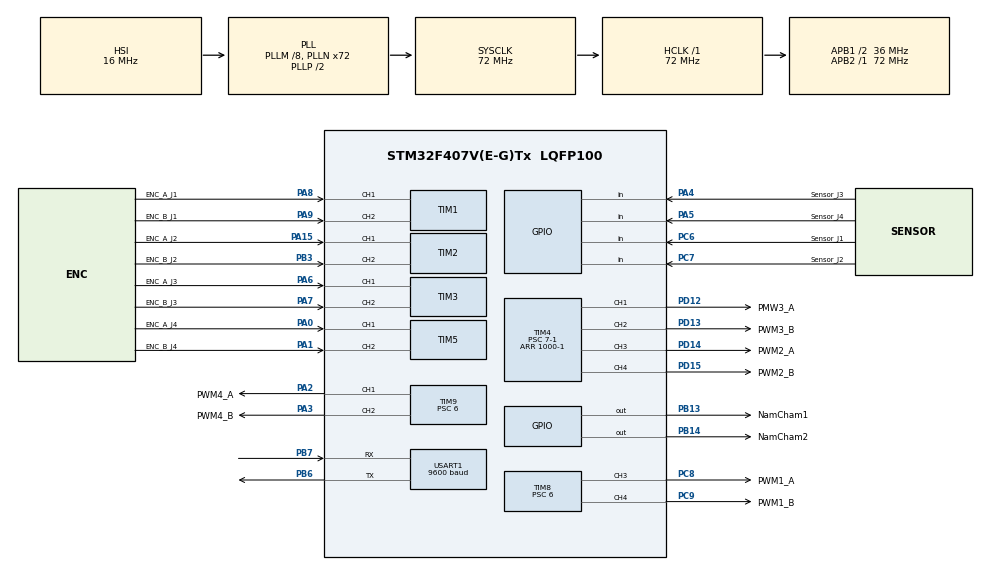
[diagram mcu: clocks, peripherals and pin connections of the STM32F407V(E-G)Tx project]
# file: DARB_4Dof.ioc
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Dma.Request0=USART1_RX
Dma.USART1_RX.0.Direction=DMA_PERIPH_TO_MEMORY
Dma.USART1_RX.0.FIFOMode=DMA_FIFOMODE_DISABLE
Dma.USART1_RX.0.Instance=DMA2_Stream2
Dma.USART1_RX.0.MemDataAlignment=DMA_MDATAALIGN_BYTE
Dma.USART1_RX.0.MemInc=DMA_MINC_ENABLE
Dma.USART1_RX.0.Mode=DMA_NORMAL
Dma.USART1_RX.0.PeriphDataAlignment=DMA_PDATAALIGN_BYTE
Dma.USART1_RX.0.PeriphInc=DMA_PINC_DISABLE
Dma.USART1_RX.0.Priority=DMA_PRIORITY_MEDIUM
FREERTOS.Tasks01=TaskLogic,0,128,StartTaskLogic,Default,NULL,Dynamic,NULL,NULL;TaskSetHome,0,128,StartTaskSetHome,Default,NULL,Dynamic,NULL,NULL;TaskCalPID,0,128,StartTaskPID,Default,NULL,Dynamic,NULL,NULL;TaskTrajectory,-1,128,StartTaskTrajectory,Default,NULL,Dynamic,NULL,NULL
Mcu.Family=STM32F4
Mcu.Name=STM32F407V(E-G)Tx
Mcu.Package=LQFP100
NVIC.DMA2_Stream2_IRQn=true\:5\:0\:false\:false\:true\:true\:false\:true\:true
NVIC.PriorityGroup=NVIC_PRIORITYGROUP_4
NVIC.TIM1_BRK_TIM9_IRQn=true\:5\:0\:false\:false\:true\:true\:true\:true\:true
NVIC.TIM8_BRK_TIM12_IRQn=true\:5\:0\:false\:false\:true\:true\:true\:true\:true
NVIC.TIM8_TRG_COM_TIM14_IRQn=true\:15\:0\:false\:false\:true\:false\:false\:true\:true
NVIC.TimeBase=TIM8_TRG_COM_TIM14_IRQn
NVIC.TimeBaseIP=TIM14
NVIC.USART1_IRQn=true\:5\:0\:false\:false\:true\:true\:true\:true\:true
PA0-WKUP.GPIO_Label=ENC_A_J4
PA0-WKUP.Signal=S_TIM5_CH1
PA1.GPIO_Label=ENC_B_J4
PA1.Signal=S_TIM5_CH2
PA13.Mode=Serial_Wire
PA13.Signal=SYS_JTMS-SWDIO
PA14.Mode=Serial_Wire
PA14.Signal=SYS_JTCK-SWCLK
PA15.GPIO_Label=ENC_A_J2
PA15.Signal=S_TIM2_CH1_ETR
PA2.GPIO_Label=PWM4_A
PA2.Signal=S_TIM9_CH1
PA3.GPIO_Label=PWM4_B
PA3.Signal=S_TIM9_CH2
PA4.GPIO_Label=Sensor_J3
PA4.GPIO_PuPd=GPIO_PULLUP
PA4.Signal=GPIO_Input
PA5.GPIO_Label=Sensor_J4
PA5.GPIO_PuPd=GPIO_PULLUP
PA5.Signal=GPIO_Input
PA6.GPIO_Label=ENC_A_J3
PA6.Signal=S_TIM3_CH1
PA7.GPIO_Label=ENC_B_J3
PA7.Signal=S_TIM3_CH2
PA8.GPIO_Label=ENC_A_J1
PA8.Signal=S_TIM1_CH1
PA9.GPIO_Label=ENC_B_J1
PA9.Signal=S_TIM1_CH2
PB13.GPIO_Label=NamCham1
PB13.Signal=GPIO_Output
PB14.GPIO_Label=NamCham2
PB14.Signal=GPIO_Output
PB3.GPIO_Label=ENC_B_J2
PB3.Signal=S_TIM2_CH2
PB6.Mode=Asynchronous
PB6.Signal=USART1_TX
PB7.Mode=Asynchronous
PB7.Signal=USART1_RX
PC6.GPIO_Label=Sensor_J1
PC6.GPIO_PuPd=GPIO_PULLUP
PC6.Signal=GPIO_Input
PC7.GPIO_Label=Sensor_J2
PC7.GPIO_PuPd=GPIO_PULLUP
PC7.Signal=GPIO_Input
PC8.GPIO_Label=PWM1_A
PC8.Signal=S_TIM8_CH3
PC9.GPIO_Label=PWM1_B
PC9.Signal=S_TIM8_CH4
PD12.GPIO_Label=PMW3_A
PD12.Signal=S_TIM4_CH1
PD13.GPIO_Label=PWM3_B
PD13.Signal=S_TIM4_CH2
PD14.GPIO_Label=PWM2_A
PD14.Signal=S_TIM4_CH3
PD15.GPIO_Label=PWM2_B
PD15.Signal=S_TIM4_CH4
PH0-OSC_IN.Mode=HSE-External-Oscillator
PH0-OSC_IN.Signal=RCC_OSC_IN
PH1-OSC_OUT.Mode=HSE-External-Oscillator
PH1-OSC_OUT.Signal=RCC_OSC_OUT
ProjectManager.HeapSize=0x200
ProjectManager.StackSize=0x400
ProjectManager.TargetToolchain=STM32CubeIDE
RCC.48MHZClocksFreq_Value=36000000
RCC.AHBFreq_Value=72000000
RCC.APB1CLKDivider=RCC_HCLK_DIV2
RCC.APB1Freq_Value=36000000
RCC.APB1TimFreq_Value=72000000
RCC.APB2Freq_Value=72000000
RCC.APB2TimFreq_Value=72000000
RCC.CortexFreq_Value=72000000
RCC.HCLKFreq_Value=72000000
RCC.HSE_VALUE=8000000
RCC.HSI_VALUE=16000000
RCC.LSE_VALUE=32768
RCC.PLLM=8
RCC.PLLN=72
RCC.SYSCLKFreq_VALUE=72000000
RCC.SYSCLKSource=RCC_SYSCLKSOURCE_PLLCLK
RCC.VCOOutputFreq_Value=144000000
SH.S_TIM1_CH1.0=TIM1_CH1,Encoder_Interface
SH.S_TIM1_CH2.0=TIM1_CH2,Encoder_Interface
SH.S_TIM2_CH1_ETR.0=TIM2_CH1,Encoder_Interface
SH.S_TIM2_CH2.0=TIM2_CH2,Encoder_Interface
SH.S_TIM3_CH1.0=TIM3_CH1,Encoder_Interface
SH.S_TIM3_CH2.0=TIM3_CH2,Encoder_Interface
SH.S_TIM4_CH1.0=TIM4_CH1,PWM Generation1 CH1
SH.S_TIM4_CH2.0=TIM4_CH2,PWM Generation2 CH2
SH.S_TIM4_CH3.0=TIM4_CH3,PWM Generation3 CH3
SH.S_TIM4_CH4.0=TIM4_CH4,PWM Generation4 CH4
SH.S_TIM5_CH1.0=TIM5_CH1,Encoder_Interface
SH.S_TIM5_CH2.0=TIM5_CH2,Encoder_Interface
SH.S_TIM8_CH3.0=TIM8_CH3,PWM Generation3 CH3
SH.S_TIM8_CH4.0=TIM8_CH4,PWM Generation4 CH4
SH.S_TIM9_CH1.0=TIM9_CH1,PWM Generation1 CH1
SH.S_TIM9_CH2.0=TIM9_CH2,PWM Generation2 CH2
TIM1.EncoderMode=TIM_ENCODERMODE_TI12
TIM12.Period=1000-1
TIM12.Prescaler=72-1
TIM3.EncoderMode=TIM_ENCODERMODE_TI12
TIM4.Channel-PWM\ Generation1\ CH1=TIM_CHANNEL_1
TIM4.Channel-PWM\ Generation2\ CH2=TIM_CHANNEL_2
TIM4.Channel-PWM\ Generation3\ CH3=TIM_CHANNEL_3
TIM4.Channel-PWM\ Generation4\ CH4=TIM_CHANNEL_4
TIM4.Period=1000-1
TIM4.Prescaler=7-1
TIM5.EncoderMode=TIM_ENCODERMODE_TI12
TIM8.Channel-PWM\ Generation3\ CH3=TIM_CHANNEL_3
TIM8.Channel-PWM\ Generation4\ CH4=TIM_CHANNEL_4
TIM8.Period=999
TIM8.Prescaler=6
TIM9.Channel-PWM\ Generation1\ CH1=TIM_CHANNEL_1
TIM9.Channel-PWM\ Generation2\ CH2=TIM_CHANNEL_2
TIM9.Period=999
TIM9.Prescaler=6
USART1.BaudRate=9600
USART1.VirtualMode=VM_ASYNC
VP_FREERTOS_VS_CMSIS_V1.Mode=CMSIS_V1
VP_SYS_VS_tim14.Mode=TIM14
VP_TIM12_VS_ClockSourceINT.Mode=Internal
board=custom

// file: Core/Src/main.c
/* USER CODE BEGIN Header */
/**
  ******************************************************************************
  * @file           : main.c
  * @brief          : Main program body
  ******************************************************************************
  * @attention
  *
  * Copyright (c) 2024 STMicroelectronics.
  * All rights reserved.
  *
  * This software is licensed under terms that can be found in the LICENSE file
  * in the root directory of this software component.
  * If no LICENSE file comes with this software, it is provided AS-IS.
  *
  ******************************************************************************
  */
/* USER CODE END Header */
#include "main.h"
#include "cmsis_os.h"

/* USER CODE BEGIN Includes */
#include"math.h"
#include"Encoder.h"
#include"MotorDrive.h"
#include"stdlib.h"
#include "PID.h"
#include "stdio.h"
#include <stdbool.h>
#include "cJSON.h"
#include "string.h"
/* USER CODE END Includes */

TIM_HandleTypeDef htim1;
TIM_HandleTypeDef htim2;
TIM_HandleTypeDef htim3;
TIM_HandleTypeDef htim4;
TIM_HandleTypeDef htim5;
TIM_HandleTypeDef htim8;
TIM_HandleTypeDef htim9;
TIM_HandleTypeDef htim12;

UART_HandleTypeDef huart1;
DMA_HandleTypeDef hdma_usart1_rx;

osThreadId TaskLogicHandle;
osThreadId TaskSetHomeHandle;
osThreadId TaskCalPIDHandle;
osThreadId TaskTrajectoryHandle;

void SystemClock_Config(void);
static void MX_GPIO_Init(void);
static void MX_DMA_Init(void);
static void MX_TIM1_Init(void);
static void MX_TIM4_Init(void);
static void MX_TIM2_Init(void);
static void MX_TIM3_Init(void);
static void MX_TIM5_Init(void);
static void MX_TIM8_Init(void);
static void MX_TIM9_Init(void);
static void MX_USART1_UART_Init(void);
static void MX_TIM12_Init(void);
void StartTaskLogic(void const * argument);
void StartTaskSetHome(void const * argument);
void StartTaskPID(void const * argument);
void StartTaskTrajectory(void const * argument);

/* USER CODE BEGIN 0 */

//----------------GLOBAL VARIABLE------------------//
typedef struct{
	uint8_t startSetHome;
	uint8_t startProgram;
	uint8_t starKinematics;
	uint8_t SetPoint_Nha;
	uint8_t SetPoint_Hut;
	uint8_t startQD;
	uint8_t startHut;
	uint8_t startNha;
}FlagStart_;
FlagStart_ FlagStart;

typedef struct{
	int16_t SpeedSetHomeJ1;
	int16_t SpeedSetHomeJ2;
	int16_t SpeedSetHomeJ3;
	int16_t SpeedSetHomeJ4;
}SpeedSetHomeJ_;
SpeedSetHomeJ_ SpeedSetHomeJ;

typedef struct{
	uint8_t sethomeJ1;
	uint8_t sethomeJ2;
	uint8_t sethomeJ3;
	uint8_t sethomeJ4;
}sethomeJ_;
sethomeJ_ sethomeJ;

typedef struct{
	int8_t sensor1;
	int8_t sensor2;
	int8_t sensor3;
	int8_t sensor4;
}sensor_;
sensor_ sensor;

typedef struct{
	float AngleLink1;
	float AngleLink2;
	float AngleLink3;
	float AngleLink4;
}Angle_;
Angle_ Angle;
//----------------GLOBAL VARIABLE------------------//

//--------------TRAJECTORY PLANNING----------------//
#define MAX_POINTS 50
typedef struct {
    float theta1;
    float theta2;
    float theta3;
    float theta4;
} Point;

typedef struct{
	float setpoint1;
	float setpoint2;
	float setpoint3;
	float setpoint4;

	float preSetpoint1;
	float preSetpoint2;
	float preSetpoint3;
	float preSetpoint4;

	float p0_1;
	float p0_2;
	float p0_3;
	float p0_4;

	float theta1_Nha;
	float theta2_Nha;
	float theta3_Nha;
	float theta4_Nha;

	int countPoint;
	Point points[MAX_POINTS];
}Setpoint_;
Setpoint_ Setpoint;

float T1, T2, T3, T4;
float Tf=1000;

float p(float p0, float pf, float tf, float v0, float vf, float T)
{
    return p0+v0*T+(3*(pf-p0)/(tf*tf)-2*v0/tf-vf/tf)*(T*T)+(-2*(pf-p0)/(tf*tf*tf)+(vf+v0)/(tf*tf))*(T*T*T);
}
//--------------TRAJECTORY PLANNING----------------//

#define MAX_MESG 2048
char uartLogBuffer[MAX_MESG];
uint8_t flag_uart_rx = 0;
uint16_t uartLogRxSize;
char dataAngle[128];
uint16_t count_timer = 0;
uint8_t count = 0;
void UartIdle_Init()
{
  HAL_UARTEx_ReceiveToIdle_DMA(&huart1, (uint8_t*)uartLogBuffer, MAX_MESG);
  __HAL_DMA_DISABLE_IT(&hdma_usart1_rx, DMA_IT_HT);
}

void UART_Handle(char* data, Setpoint_* Setpoint)
{
    static char uartDataBuffer[1024] = "";
    static size_t dataBufferIndex = 0;

    if (flag_uart_rx == 1 && strstr(data, "\n"))
    {
        if (strstr(data, "theta1"))
        {
            if (sscanf(data, "theta1:%f,theta2:%f,theta3:%f,theta4:%f\n",
                       &Setpoint->setpoint1, &Setpoint->setpoint2,
                       &Setpoint->setpoint3, &Setpoint->setpoint4) == 4)
            {
                FlagStart.starKinematics = 1;
            }
        }
        else if (strstr(data, "NhaT1"))
        {
            if (sscanf(data, "NhaT1:%f,NhaT2:%f,NhaT3:%f,NhaT4:%f\n",
                       &Setpoint->theta1_Nha, &Setpoint->theta2_Nha,
                       &Setpoint->theta3_Nha, &Setpoint->theta4_Nha) == 4)
            {
                FlagStart.SetPoint_Nha = 1;
            }
        }
        else if (strstr(data, "Point"))
        {
        	Setpoint->countPoint = 0;
        	if (dataBufferIndex + strlen(data) < sizeof(uartDataBuffer) - 1) {
				strncat(uartDataBuffer, data, sizeof(uartDataBuffer) - dataBufferIndex - 1);
				dataBufferIndex += strlen(data);

				if (strchr(uartDataBuffer, '\n') != NULL) {
					char* savePtr;
					char* token = strtok_r(uartDataBuffer, ";", &savePtr);

					while (token != NULL) {
						int pointId;
						float theta1, theta2, theta3, theta4;

						if (sscanf(token, "Point:%d, HutT1:%f, HutT2:%f, HutT3:%f, HutT4:%f", &pointId, &theta1, &theta2, &theta3, &theta4) == 5) {
							Setpoint->points[pointId].theta1 = theta1;
							Setpoint->points[pointId].theta2 = theta2;
							Setpoint->points[pointId].theta3 = theta3;
							Setpoint->points[pointId].theta4 = theta4;
							FlagStart.SetPoint_Hut = 1;
							Setpoint->countPoint++;
						}
						else{
							FlagStart.startQD = 1;
							count = 0;
						}
						token = strtok_r(NULL, ";", &savePtr);
					}

					memset(uartDataBuffer, 0, sizeof(uartDataBuffer));
					dataBufferIndex = 0;
				}
			}
        }
        else if (strstr(data, "home"))
        {
            FlagStart.startSetHome = 0;
        }
        else if (strstr(data, "Reset"))
        {
            HAL_NVIC_SystemReset();
        }
        else if (strstr(data, "GAP"))
        {
			HAL_GPIO_WritePin(NamCham1_GPIO_Port, NamCham1_Pin, 1);
			HAL_GPIO_WritePin(NamCham2_GPIO_Port, NamCham2_Pin, 0);
        }
        else if (strstr(data, "VUT"))
        {
			HAL_GPIO_WritePin(NamCham1_GPIO_Port, NamCham1_Pin, 0);
			HAL_GPIO_WritePin(NamCham2_GPIO_Port, NamCham2_Pin, 0);
        }
        else if (strstr(data, "start"))
        {
            FlagStart.startProgram = 1;
            Angle.AngleLink1 = 0;
            Angle.AngleLink2 = 0;
            Angle.AngleLink3 = 0;
            Angle.AngleLink4 = 0;

        }
        else if (strstr(data, "disconnected"))
        {
            FlagStart.startProgram = 0;
            FlagStart.SetPoint_Hut = 0;
            FlagStart.SetPoint_Nha = 0;
            FlagStart.starKinematics = 0;
        }
        flag_uart_rx = 0;
        memset(data, 0, uartLogRxSize);
    }
}

void HAL_UARTEx_RxEventCallback(UART_HandleTypeDef* huart, uint16_t Size)
{
  if (huart->Instance == USART1)
  {
    uartLogRxSize = Size;
    flag_uart_rx = 1;
	UART_Handle(uartLogBuffer, &Setpoint);

    HAL_UARTEx_ReceiveToIdle_DMA(huart, (uint8_t*)uartLogBuffer, MAX_MESG);
  }
}
//----------------LINK1------------------//
EncoderRead ENC_LINK1;
MotorDrive 	Motor_LINK1;
PID_Param	PID_DC_SPEED_LINK1;
PID_Param	PID_DC_POS_LINK1;
void PID_LINK1_Init()
{
	PID_DC_SPEED_LINK1.kP = 50;
	PID_DC_SPEED_LINK1.kI = 300;
	PID_DC_SPEED_LINK1.kD = 0;
	PID_DC_SPEED_LINK1.alpha = 0;
	PID_DC_SPEED_LINK1.deltaT = 0.01;
	PID_DC_SPEED_LINK1.uI_AboveLimit = 1000;
	PID_DC_SPEED_LINK1.uI_BelowLimit = -1000;
	PID_DC_SPEED_LINK1.u_AboveLimit  = 1000;
	PID_DC_SPEED_LINK1.u_BelowLimit  = -1000;

	PID_DC_POS_LINK1.kP = 10;
	PID_DC_POS_LINK1.kI = 0;
	PID_DC_POS_LINK1.kD = 0;
	PID_DC_POS_LINK1.alpha = 0;
	PID_DC_POS_LINK1.deltaT = 0.01;
	PID_DC_POS_LINK1.uI_AboveLimit = 1000;
	PID_DC_POS_LINK1.uI_BelowLimit = -1000;
	PID_DC_POS_LINK1.u_AboveLimit  = 1000;
	PID_DC_POS_LINK1.u_BelowLimit  = -1000;
}
void PID_LINK1_Speed(){
	SpeedReadNonReset(&ENC_LINK1);
	Pid_Cal(&PID_DC_SPEED_LINK1, PID_DC_POS_LINK1.u, ENC_LINK1.vel_Real);
	Drive(&Motor_LINK1, &htim8, PID_DC_SPEED_LINK1.u, TIM_CHANNEL_3, TIM_CHANNEL_4);
}
void PID_LINK1_Pos(){
	Pid_Cal(&PID_DC_POS_LINK1, Angle.AngleLink1, CountRead(&ENC_LINK1, count_ModeDegree));
	PID_LINK1_Speed();
}
//----------------LINK1------------------//

//----------------LINK 2------------------//
EncoderRead ENC_LINK2;
MotorDrive 	Motor_LINK2;
PID_Param	PID_DC_SPEED_LINK2;
PID_Param	PID_DC_POS_LINK2;
void PID_LINK2_Init()
{
	PID_DC_SPEED_LINK2.kP = 50;
	PID_DC_SPEED_LINK2.kI = 300;
	PID_DC_SPEED_LINK2.kD = 0;
	PID_DC_SPEED_LINK2.alpha = 0;
	PID_DC_SPEED_LINK2.deltaT = 0.01;
	PID_DC_SPEED_LINK2.uI_AboveLimit = 1000;
	PID_DC_SPEED_LINK2.uI_BelowLimit = -1000;
	PID_DC_SPEED_LINK2.u_AboveLimit  = 1000;
	PID_DC_SPEED_LINK2.u_BelowLimit  = -1000;

	PID_DC_POS_LINK2.kP = 10;
	PID_DC_POS_LINK2.kI = 0;
	PID_DC_POS_LINK2.kD = 0;
	PID_DC_POS_LINK2.alpha = 0;
	PID_DC_POS_LINK2.deltaT = 0.01;
	PID_DC_POS_LINK2.uI_AboveLimit = 1000;
	PID_DC_POS_LINK2.uI_BelowLimit = -1000;
	PID_DC_POS_LINK2.u_AboveLimit  = 1000;
	PID_DC_POS_LINK2.u_BelowLimit  = -1000;
}
void PID_LINK2_Speed(){
	SpeedReadNonReset(&ENC_LINK2);
	Pid_Cal(&PID_DC_SPEED_LINK2, PID_DC_POS_LINK2.u, ENC_LINK2.vel_Real);
	Drive(&Motor_LINK2, &htim4, PID_DC_SPEED_LINK2.u, TIM_CHANNEL_3, TIM_CHANNEL_4);
}
void PID_LINK2_Pos(){
	Pid_Cal(&PID_DC_POS_LINK2, Angle.AngleLink2 - 187, CountRead(&ENC_LINK2, count_ModeDegree));
	PID_LINK2_Speed();
}
//----------------LINK 2------------------//

//----------------LINK 3------------------//
EncoderRead ENC_LINK3;
MotorDrive 	Motor_LINK3;
PID_Param	PID_DC_SPEED_LINK3;
PID_Param	PID_DC_POS_LINK3;
void PID_LINK3_Init()
{
	PID_DC_SPEED_LINK3.kP = 50;
	PID_DC_SPEED_LINK3.kI = 300;
	PID_DC_SPEED_LINK3.kD = 0;
	PID_DC_SPEED_LINK3.alpha = 0;
	PID_DC_SPEED_LINK3.deltaT = 0.01;
	PID_DC_SPEED_LINK3.uI_AboveLimit = 1000;
	PID_DC_SPEED_LINK3.uI_BelowLimit = -1000;
	PID_DC_SPEED_LINK3.u_AboveLimit  = 1000;
	PID_DC_SPEED_LINK3.u_BelowLimit  = -1000;

	PID_DC_POS_LINK3.kP = 10;
	PID_DC_POS_LINK3.kI = 0;
	PID_DC_POS_LINK3.kD = 0;
	PID_DC_POS_LINK3.alpha = 0;
	PID_DC_POS_LINK3.deltaT = 0.01;
	PID_DC_POS_LINK3.uI_AboveLimit = 1000;
	PID_DC_POS_LINK3.uI_BelowLimit = -1000;
	PID_DC_POS_LINK3.u_AboveLimit  = 1000;
	PID_DC_POS_LINK3.u_BelowLimit  = -1000;
}
void PID_LINK3_Speed(){
	SpeedReadNonReset(&ENC_LINK3);
	Pid_Cal(&PID_DC_SPEED_LINK3, PID_DC_POS_LINK3.u, ENC_LINK3.vel_Real);
	Drive(&Motor_LINK3, &htim4, PID_DC_SPEED_LINK3.u, TIM_CHANNEL_1, TIM_CHANNEL_2);
}
void PID_LINK3_Pos(){
	Pid_Cal(&PID_DC_POS_LINK3, Angle.AngleLink3 + 135, CountRead(&ENC_LINK3, count_ModeDegree));
	PID_LINK3_Speed();
}
//----------------LINK 3------------------//

//----------------LINK 4------------------//
EncoderRead ENC_LINK4;
MotorDrive 	Motor_LINK4;
PID_Param	PID_DC_SPEED_LINK4;
PID_Param	PID_DC_POS_LINK4;
void PID_LINK4_Init()
{
	PID_DC_SPEED_LINK4.kP = 50;
	PID_DC_SPEED_LINK4.kI = 300;
	PID_DC_SPEED_LINK4.kD = 0;
	PID_DC_SPEED_LINK4.alpha = 0;
	PID_DC_SPEED_LINK4.deltaT = 0.01;
	PID_DC_SPEED_LINK4.uI_AboveLimit = 1000;
	PID_DC_SPEED_LINK4.uI_BelowLimit = -1000;
	PID_DC_SPEED_LINK4.u_AboveLimit  = 1000;
	PID_DC_SPEED_LINK4.u_BelowLimit  = -1000;

	PID_DC_POS_LINK4.kP = 10;
	PID_DC_POS_LINK4.kI = 0;
	PID_DC_POS_LINK4.kD = 0;
	PID_DC_POS_LINK4.alpha = 0;
	PID_DC_POS_LINK4.deltaT = 0.01;
	PID_DC_POS_LINK4.uI_AboveLimit = 1000;
	PID_DC_POS_LINK4.uI_BelowLimit = -1000;
	PID_DC_POS_LINK4.u_AboveLimit  = 1000;
	PID_DC_POS_LINK4.u_BelowLimit  = -1000;
}
void PID_LINK4_Speed(){
	SpeedReadNonReset(&ENC_LINK4);
	Pid_Cal(&PID_DC_SPEED_LINK4, PID_DC_POS_LINK4.u, ENC_LINK4.vel_Real);
	Drive(&Motor_LINK4, &htim9, PID_DC_SPEED_LINK4.u, TIM_CHANNEL_1, TIM_CHANNEL_2);
}
void PID_LINK4_Pos(){
	Pid_Cal(&PID_DC_POS_LINK4, Angle.AngleLink4 - 90, CountRead(&ENC_LINK4, count_ModeDegree));
	PID_LINK4_Speed();
}
//----------------LINK 4------------------//

/* USER CODE END 0 */

int main(void)
{

  /* MCU Configuration--------------------------------------------------------*/

  /* Reset of all peripherals, Initializes the Flash interface and the Systick. */
  HAL_Init();

  /* Configure the system clock */
  SystemClock_Config();

  /* Initialize all configured peripherals */
  MX_GPIO_Init();
  MX_DMA_Init();
  MX_TIM1_Init();
  MX_TIM4_Init();
  MX_TIM2_Init();
  MX_TIM3_Init();
  MX_TIM5_Init();
  MX_TIM8_Init();
  MX_TIM9_Init();
  MX_USART1_UART_Init();
  MX_TIM12_Init();
  /* USER CODE BEGIN 2 */
  HAL_TIM_PWM_Start(&htim4, TIM_CHANNEL_1);
  HAL_TIM_PWM_Start(&htim4, TIM_CHANNEL_2);
  HAL_TIM_PWM_Start(&htim4, TIM_CHANNEL_3);
  HAL_TIM_PWM_Start(&htim4, TIM_CHANNEL_4);
  HAL_TIM_PWM_Start(&htim9, TIM_CHANNEL_1);
  HAL_TIM_PWM_Start(&htim9, TIM_CHANNEL_2);
  HAL_TIM_PWM_Start(&htim8, TIM_CHANNEL_3);
  HAL_TIM_PWM_Start(&htim8, TIM_CHANNEL_4);

  HAL_TIM_Base_Start_IT(&htim12);

  HAL_TIM_Encoder_Start(&htim1, TIM_CHANNEL_ALL);
  HAL_TIM_Encoder_Start(&htim2, TIM_CHANNEL_ALL);
  HAL_TIM_Encoder_Start(&htim3, TIM_CHANNEL_ALL);
  HAL_TIM_Encoder_Start(&htim5, TIM_CHANNEL_ALL);

  EncoderSetting(&ENC_LINK1, &htim1, 6950, 0.01);
  EncoderSetting(&ENC_LINK2, &htim2, 3440, 0.01);
  EncoderSetting(&ENC_LINK3, &htim3, 7200, 0.01);
  EncoderSetting(&ENC_LINK4, &htim5, 3220, 0.01);

  PID_LINK1_Init();
  PID_LINK2_Init();
  PID_LINK3_Init();
  PID_LINK4_Init();

  UartIdle_Init();

  /* USER CODE END 2 */

  /* Create the thread(s) */
  /* definition and creation of TaskLogic */
  osThreadDef(TaskLogic, StartTaskLogic, osPriorityNormal, 0, 128);
  TaskLogicHandle = osThreadCreate(osThread(TaskLogic), NULL);

  /* definition and creation of TaskSetHome */
  osThreadDef(TaskSetHome, StartTaskSetHome, osPriorityNormal, 0, 128);
  TaskSetHomeHandle = osThreadCreate(osThread(TaskSetHome), NULL);

  /* definition and creation of TaskCalPID */
  osThreadDef(TaskCalPID, StartTaskPID, osPriorityNormal, 0, 128);
  TaskCalPIDHandle = osThreadCreate(osThread(TaskCalPID), NULL);

  /* definition and creation of TaskTrajectory */
  osThreadDef(TaskTrajectory, StartTaskTrajectory, osPriorityBelowNormal, 0, 128);
  TaskTrajectoryHandle = osThreadCreate(osThread(TaskTrajectory), NULL);

  /* Start scheduler */
  osKernelStart();

  /* We should never get here as control is now taken by the scheduler */
  /* Infinite loop */
  while (1)
  {

  }
}

void SystemClock_Config(void)
{
  RCC_OscInitTypeDef RCC_OscInitStruct = {0};
  RCC_ClkInitTypeDef RCC_ClkInitStruct = {0};

  /** Configure the main internal regulator output voltage
  */
  __HAL_RCC_PWR_CLK_ENABLE();
  __HAL_PWR_VOLTAGESCALING_CONFIG(PWR_REGULATOR_VOLTAGE_SCALE1);

  /** Initializes the RCC Oscillators according to the specified parameters
  * in the RCC_OscInitTypeDef structure.
  */
  RCC_OscInitStruct.OscillatorType = RCC_OSCILLATORTYPE_HSI;
  RCC_OscInitStruct.HSIState = RCC_HSI_ON;
  RCC_OscInitStruct.HSICalibrationValue = RCC_HSICALIBRATION_DEFAULT;
  RCC_OscInitStruct.PLL.PLLState = RCC_PLL_ON;
  RCC_OscInitStruct.PLL.PLLSource = RCC_PLLSOURCE_HSI;
  RCC_OscInitStruct.PLL.PLLM = 8;
  RCC_OscInitStruct.PLL.PLLN = 72;
  RCC_OscInitStruct.PLL.PLLP = RCC_PLLP_DIV2;
  RCC_OscInitStruct.PLL.PLLQ = 4;
  if (HAL_RCC_OscConfig(&RCC_OscInitStruct) != HAL_OK)
  {
    Error_Handler();
  }

  /** Initializes the CPU, AHB and APB buses clocks
  */
  RCC_ClkInitStruct.ClockType = RCC_CLOCKTYPE_HCLK|RCC_CLOCKTYPE_SYSCLK
                              |RCC_CLOCKTYPE_PCLK1|RCC_CLOCKTYPE_PCLK2;
  RCC_ClkInitStruct.SYSCLKSource = RCC_SYSCLKSOURCE_PLLCLK;
  RCC_ClkInitStruct.AHBCLKDivider = RCC_SYSCLK_DIV1;
  RCC_ClkInitStruct.APB1CLKDivider = RCC_HCLK_DIV2;
  RCC_ClkInitStruct.APB2CLKDivider = RCC_HCLK_DIV1;

  if (HAL_RCC_ClockConfig(&RCC_ClkInitStruct, FLASH_LATENCY_2) != HAL_OK)
  {
    Error_Handler();
  }
}

static void MX_TIM1_Init(void)
{

  TIM_Encoder_InitTypeDef sConfig = {0};
  TIM_MasterConfigTypeDef sMasterConfig = {0};

  htim1.Instance = TIM1;
  htim1.Init.Prescaler = 0;
  htim1.Init.CounterMode = TIM_COUNTERMODE_UP;
  htim1.Init.Period = 65535;
  htim1.Init.ClockDivision = TIM_CLOCKDIVISION_DIV1;
  htim1.Init.RepetitionCounter = 0;
  htim1.Init.AutoReloadPreload = TIM_AUTORELOAD_PRELOAD_DISABLE;
  sConfig.EncoderMode = TIM_ENCODERMODE_TI12;
  sConfig.IC1Polarity = TIM_ICPOLARITY_RISING;
  sConfig.IC1Selection = TIM_ICSELECTION_DIRECTTI;
  sConfig.IC1Prescaler = TIM_ICPSC_DIV1;
  sConfig.IC1Filter = 0;
  sConfig.IC2Polarity = TIM_ICPOLARITY_RISING;
  sConfig.IC2Selection = TIM_ICSELECTION_DIRECTTI;
  sConfig.IC2Prescaler = TIM_ICPSC_DIV1;
  sConfig.IC2Filter = 0;
  if (HAL_TIM_Encoder_Init(&htim1, &sConfig) != HAL_OK)
  {
    Error_Handler();
  }
  sMasterConfig.MasterOutputTrigger = TIM_TRGO_RESET;
  sMasterConfig.MasterSlaveMode = TIM_MASTERSLAVEMODE_DISABLE;
  if (HAL_TIMEx_MasterConfigSynchronization(&htim1, &sMasterConfig) != HAL_OK)
  {
    Error_Handler();
  }

}

static void MX_TIM2_Init(void)
{

  TIM_Encoder_InitTypeDef sConfig = {0};
  TIM_MasterConfigTypeDef sMasterConfig = {0};

  htim2.Instance = TIM2;
  htim2.Init.Prescaler = 0;
  htim2.Init.CounterMode = TIM_COUNTERMODE_UP;
  htim2.Init.Period = 4294967295;
  htim2.Init.ClockDivision = TIM_CLOCKDIVISION_DIV1;
  htim2.Init.AutoReloadPreload = TIM_AUTORELOAD_PRELOAD_DISABLE;
  sConfig.EncoderMode = TIM_ENCODERMODE_TI1;
  sConfig.IC1Polarity = TIM_ICPOLARITY_RISING;
  sConfig.IC1Selection = TIM_ICSELECTION_DIRECTTI;
  sConfig.IC1Prescaler = TIM_ICPSC_DIV1;
  sConfig.IC1Filter = 0;
  sConfig.IC2Polarity = TIM_ICPOLARITY_RISING;
  sConfig.IC2Selection = TIM_ICSELECTION_DIRECTTI;
  sConfig.IC2Prescaler = TIM_ICPSC_DIV1;
  sConfig.IC2Filter = 0;
  if (HAL_TIM_Encoder_Init(&htim2, &sConfig) != HAL_OK)
  {
    Error_Handler();
  }
  sMasterConfig.MasterOutputTrigger = TIM_TRGO_RESET;
  sMasterConfig.MasterSlaveMode = TIM_MASTERSLAVEMODE_DISABLE;
  if (HAL_TIMEx_MasterConfigSynchronization(&htim2, &sMasterConfig) != HAL_OK)
  {
    Error_Handler();
  }

}

static void MX_TIM3_Init(void)
{

  TIM_Encoder_InitTypeDef sConfig = {0};
  TIM_MasterConfigTypeDef sMasterConfig = {0};

  htim3.Instance = TIM3;
  htim3.Init.Prescaler = 0;
  htim3.Init.CounterMode = TIM_COUNTERMODE_UP;
  htim3.Init.Period = 65535;
  htim3.Init.ClockDivision = TIM_CLOCKDIVISION_DIV1;
  htim3.Init.AutoReloadPreload = TIM_AUTORELOAD_PRELOAD_DISABLE;
  sConfig.EncoderMode = TIM_ENCODERMODE_TI12;
  sConfig.IC1Polarity = TIM_ICPOLARITY_RISING;
  sConfig.IC1Selection = TIM_ICSELECTION_DIRECTTI;
  sConfig.IC1Prescaler = TIM_ICPSC_DIV1;
  sConfig.IC1Filter = 0;
  sConfig.IC2Polarity = TIM_ICPOLARITY_RISING;
  sConfig.IC2Selection = TIM_ICSELECTION_DIRECTTI;
  sConfig.IC2Prescaler = TIM_ICPSC_DIV1;
  sConfig.IC2Filter = 0;
  if (HAL_TIM_Encoder_Init(&htim3, &sConfig) != HAL_OK)
  {
    Error_Handler();
  }
  sMasterConfig.MasterOutputTrigger = TIM_TRGO_RESET;
  sMasterConfig.MasterSlaveMode = TIM_MASTERSLAVEMODE_DISABLE;
  if (HAL_TIMEx_MasterConfigSynchronization(&htim3, &sMasterConfig) != HAL_OK)
  {
    Error_Handler();
  }

}

static void MX_TIM4_Init(void)
{

  TIM_MasterConfigTypeDef sMasterConfig = {0};
  TIM_OC_InitTypeDef sConfigOC = {0};

  htim4.Instance = TIM4;
  htim4.Init.Prescaler = 7-1;
  htim4.Init.CounterMode = TIM_COUNTERMODE_UP;
  htim4.Init.Period = 1000-1;
  htim4.Init.ClockDivision = TIM_CLOCKDIVISION_DIV1;
  htim4.Init.AutoReloadPreload = TIM_AUTORELOAD_PRELOAD_DISABLE;
  if (HAL_TIM_PWM_Init(&htim4) != HAL_OK)
  {
    Error_Handler();
  }
  sMasterConfig.MasterOutputTrigger = TIM_TRGO_RESET;
  sMasterConfig.MasterSlaveMode = TIM_MASTERSLAVEMODE_DISABLE;
  if (HAL_TIMEx_MasterConfigSynchronization(&htim4, &sMasterConfig) != HAL_OK)
  {
    Error_Handler();
  }
  sConfigOC.OCMode = TIM_OCMODE_PWM1;
  sConfigOC.Pulse = 0;
  sConfigOC.OCPolarity = TIM_OCPOLARITY_HIGH;
  sConfigOC.OCFastMode = TIM_OCFAST_DISABLE;
  if (HAL_TIM_PWM_ConfigChannel(&htim4, &sConfigOC, TIM_CHANNEL_1) != HAL_OK)
  {
    Error_Handler();
  }
  if (HAL_TIM_PWM_ConfigChannel(&htim4, &sConfigOC, TIM_CHANNEL_2) != HAL_OK)
  {
    Error_Handler();
  }
  if (HAL_TIM_PWM_ConfigChannel(&htim4, &sConfigOC, TIM_CHANNEL_3) != HAL_OK)
  {
    Error_Handler();
  }
  if (HAL_TIM_PWM_ConfigChannel(&htim4, &sConfigOC, TIM_CHANNEL_4) != HAL_OK)
  {
    Error_Handler();
  }
  HAL_TIM_MspPostInit(&htim4);

}

static void MX_TIM5_Init(void)
{

  TIM_Encoder_InitTypeDef sConfig = {0};
  TIM_MasterConfigTypeDef sMasterConfig = {0};

  htim5.Instance = TIM5;
  htim5.Init.Prescaler = 0;
  htim5.Init.CounterMode = TIM_COUNTERMODE_UP;
  htim5.Init.Period = 4294967295;
  htim5.Init.ClockDivision = TIM_CLOCKDIVISION_DIV1;
  htim5.Init.AutoReloadPreload = TIM_AUTORELOAD_PRELOAD_DISABLE;
  sConfig.EncoderMode = TIM_ENCODERMODE_TI12;
  sConfig.IC1Polarity = TIM_ICPOLARITY_RISING;
  sConfig.IC1Selection = TIM_ICSELECTION_DIRECTTI;
  sConfig.IC1Prescaler = TIM_ICPSC_DIV1;
  sConfig.IC1Filter = 0;
  sConfig.IC2Polarity = TIM_ICPOLARITY_RISING;
  sConfig.IC2Selection = TIM_ICSELECTION_DIRECTTI;
  sConfig.IC2Prescaler = TIM_ICPSC_DIV1;
  sConfig.IC2Filter = 0;
  if (HAL_TIM_Encoder_Init(&htim5, &sConfig) != HAL_OK)
  {
    Error_Handler();
  }
  sMasterConfig.MasterOutputTrigger = TIM_TRGO_RESET;
  sMasterConfig.MasterSlaveMode = TIM_MASTERSLAVEMODE_DISABLE;
  if (HAL_TIMEx_MasterConfigSynchronization(&htim5, &sMasterConfig) != HAL_OK)
  {
    Error_Handler();
  }

}

static void MX_TIM8_Init(void)
{

  TIM_MasterConfigTypeDef sMasterConfig = {0};
  TIM_OC_InitTypeDef sConfigOC = {0};
  TIM_BreakDeadTimeConfigTypeDef sBreakDeadTimeConfig = {0};

  htim8.Instance = TIM8;
  htim8.Init.Prescaler = 6;
  htim8.Init.CounterMode = TIM_COUNTERMODE_UP;
  htim8.Init.Period = 999;
  htim8.Init.ClockDivision = TIM_CLOCKDIVISION_DIV1;
  htim8.Init.RepetitionCounter = 0;
  htim8.Init.AutoReloadPreload = TIM_AUTORELOAD_PRELOAD_DISABLE;
  if (HAL_TIM_PWM_Init(&htim8) != HAL_OK)
  {
    Error_Handler();
  }
  sMasterConfig.MasterOutputTrigger = TIM_TRGO_RESET;
  sMasterConfig.MasterSlaveMode = TIM_MASTERSLAVEMODE_DISABLE;
  if (HAL_TIMEx_MasterConfigSynchronization(&htim8, &sMasterConfig) != HAL_OK)
  {
    Error_Handler();
  }
  sConfigOC.OCMode = TIM_OCMODE_PWM1;
  sConfigOC.Pulse = 0;
  sConfigOC.OCPolarity = TIM_OCPOLARITY_HIGH;
  sConfigOC.OCNPolarity = TIM_OCNPOLARITY_HIGH;
  sConfigOC.OCFastMode = TIM_OCFAST_DISABLE;
  sConfigOC.OCIdleState = TIM_OCIDLESTATE_RESET;
  sConfigOC.OCNIdleState = TIM_OCNIDLESTATE_RESET;
  if (HAL_TIM_PWM_ConfigChannel(&htim8, &sConfigOC, TIM_CHANNEL_3) != HAL_OK)
  {
    Error_Handler();
  }
  if (HAL_TIM_PWM_ConfigChannel(&htim8, &sConfigOC, TIM_CHANNEL_4) != HAL_OK)
  {
    Error_Handler();
  }
  sBreakDeadTimeConfig.OffStateRunMode = TIM_OSSR_DISABLE;
  sBreakDeadTimeConfig.OffStateIDLEMode = TIM_OSSI_DISABLE;
  sBreakDeadTimeConfig.LockLevel = TIM_LOCKLEVEL_OFF;
  sBreakDeadTimeConfig.DeadTime = 0;
  sBreakDeadTimeConfig.BreakState = TIM_BREAK_DISABLE;
  sBreakDeadTimeConfig.BreakPolarity = TIM_BREAKPOLARITY_HIGH;
  sBreakDeadTimeConfig.AutomaticOutput = TIM_AUTOMATICOUTPUT_DISABLE;
  if (HAL_TIMEx_ConfigBreakDeadTime(&htim8, &sBreakDeadTimeConfig) != HAL_OK)
  {
    Error_Handler();
  }
  HAL_TIM_MspPostInit(&htim8);

}

static void MX_TIM9_Init(void)
{

  TIM_OC_InitTypeDef sConfigOC = {0};

  htim9.Instance = TIM9;
  htim9.Init.Prescaler = 6;
  htim9.Init.CounterMode = TIM_COUNTERMODE_UP;
  htim9.Init.Period = 999;
  htim9.Init.ClockDivision = TIM_CLOCKDIVISION_DIV1;
  htim9.Init.AutoReloadPreload = TIM_AUTORELOAD_PRELOAD_DISABLE;
  if (HAL_TIM_PWM_Init(&htim9) != HAL_OK)
  {
    Error_Handler();
  }
  sConfigOC.OCMode = TIM_OCMODE_PWM1;
  sConfigOC.Pulse = 0;
  sConfigOC.OCPolarity = TIM_OCPOLARITY_HIGH;
  sConfigOC.OCFastMode = TIM_OCFAST_DISABLE;
  if (HAL_TIM_PWM_ConfigChannel(&htim9, &sConfigOC, TIM_CHANNEL_1) != HAL_OK)
  {
    Error_Handler();
  }
  if (HAL_TIM_PWM_ConfigChannel(&htim9, &sConfigOC, TIM_CHANNEL_2) != HAL_OK)
  {
    Error_Handler();
  }
  HAL_TIM_MspPostInit(&htim9);

}

static void MX_TIM12_Init(void)
{

  TIM_ClockConfigTypeDef sClockSourceConfig = {0};

  htim12.Instance = TIM12;
  htim12.Init.Prescaler = 72-1;
  htim12.Init.CounterMode = TIM_COUNTERMODE_UP;
  htim12.Init.Period = 1000-1;
  htim12.Init.ClockDivision = TIM_CLOCKDIVISION_DIV1;
  htim12.Init.AutoReloadPreload = TIM_AUTORELOAD_PRELOAD_DISABLE;
  if (HAL_TIM_Base_Init(&htim12) != HAL_OK)
  {
    Error_Handler();
  }
  sClockSourceConfig.ClockSource = TIM_CLOCKSOURCE_INTERNAL;
  if (HAL_TIM_ConfigClockSource(&htim12, &sClockSourceConfig) != HAL_OK)
  {
    Error_Handler();
  }

}

static void MX_USART1_UART_Init(void)
{

  huart1.Instance = USART1;
  huart1.Init.BaudRate = 9600;
  huart1.Init.WordLength = UART_WORDLENGTH_8B;
  huart1.Init.StopBits = UART_STOPBITS_1;
  huart1.Init.Parity = UART_PARITY_NONE;
  huart1.Init.Mode = UART_MODE_TX_RX;
  huart1.Init.HwFlowCtl = UART_HWCONTROL_NONE;
  huart1.Init.OverSampling = UART_OVERSAMPLING_16;
  if (HAL_UART_Init(&huart1) != HAL_OK)
  {
    Error_Handler();
  }

}

static void MX_DMA_Init(void)
{

  /* DMA controller clock enable */
  __HAL_RCC_DMA2_CLK_ENABLE();

  /* DMA interrupt init */
  /* DMA2_Stream2_IRQn interrupt configuration */
  HAL_NVIC_SetPriority(DMA2_Stream2_IRQn, 5, 0);
  HAL_NVIC_EnableIRQ(DMA2_Stream2_IRQn);

}

static void MX_GPIO_Init(void)
{
  GPIO_InitTypeDef GPIO_InitStruct = {0};

  /* GPIO Ports Clock Enable */
  __HAL_RCC_GPIOH_CLK_ENABLE();
  __HAL_RCC_GPIOA_CLK_ENABLE();
  __HAL_RCC_GPIOB_CLK_ENABLE();
  __HAL_RCC_GPIOD_CLK_ENABLE();
  __HAL_RCC_GPIOC_CLK_ENABLE();

  /*Configure GPIO pin Output Level */
  HAL_GPIO_WritePin(GPIOB, NamCham1_Pin|NamCham2_Pin, GPIO_PIN_RESET);

  /*Configure GPIO pins : Sensor_J3_Pin Sensor_J4_Pin */
  GPIO_InitStruct.Pin = Sensor_J3_Pin|Sensor_J4_Pin;
  GPIO_InitStruct.Mode = GPIO_MODE_INPUT;
  GPIO_InitStruct.Pull = GPIO_PULLUP;
  HAL_GPIO_Init(GPIOA, &GPIO_InitStruct);

  /*Configure GPIO pins : NamCham1_Pin NamCham2_Pin */
  GPIO_InitStruct.Pin = NamCham1_Pin|NamCham2_Pin;
  GPIO_InitStruct.Mode = GPIO_MODE_OUTPUT_PP;
  GPIO_InitStruct.Pull = GPIO_NOPULL;
  GPIO_InitStruct.Speed = GPIO_SPEED_FREQ_LOW;
  HAL_GPIO_Init(GPIOB, &GPIO_InitStruct);

  /*Configure GPIO pins : Sensor_J1_Pin Sensor_J2_Pin */
  GPIO_InitStruct.Pin = Sensor_J1_Pin|Sensor_J2_Pin;
  GPIO_InitStruct.Mode = GPIO_MODE_INPUT;
  GPIO_InitStruct.Pull = GPIO_PULLUP;
  HAL_GPIO_Init(GPIOC, &GPIO_InitStruct);

}

void StartTaskLogic(void const * argument)
{
  /* USER CODE BEGIN 5 */
  /* Infinite loop */

  for(;;)
  {

	  if(FlagStart.startQD == 1){
		  if(count < Setpoint.countPoint){
			  Setpoint.setpoint1 = Setpoint.points[count].theta1;
			  Setpoint.setpoint2 = Setpoint.points[count].theta2;
			  Setpoint.setpoint3 = Setpoint.points[count].theta3;
			  Setpoint.setpoint4 = Setpoint.points[count].theta4;

			  osDelay(3000);
			  HAL_GPIO_WritePin(NamCham1_GPIO_Port, NamCham1_Pin, 1);
			  HAL_GPIO_WritePin(NamCham2_GPIO_Port, NamCham2_Pin, 0);

			  Setpoint.setpoint1 = Setpoint.theta1_Nha;
			  Setpoint.setpoint2 = Setpoint.theta2_Nha;
			  Setpoint.setpoint3 = Setpoint.theta3_Nha;
			  Setpoint.setpoint4 = Setpoint.theta4_Nha;

			  osDelay(1500);
			  HAL_GPIO_WritePin(NamCham1_GPIO_Port, NamCham1_Pin, 0);
			  HAL_GPIO_WritePin(NamCham2_GPIO_Port, NamCham2_Pin, 0);
			  osDelay(2000);

			  count++;
		  }
	  }

    osDelay(10);
  }
  /* USER CODE END 5 */
}

void StartTaskSetHome(void const * argument)
{
  /* USER CODE BEGIN StartTaskSetHome */
  /* Infinite loop */
  for(;;)
  {
	sensor.sensor1 = HAL_GPIO_ReadPin(Sensor_J1_GPIO_Port, Sensor_J1_Pin);
	sensor.sensor2 = HAL_GPIO_ReadPin(Sensor_J2_GPIO_Port, Sensor_J2_Pin);
	sensor.sensor3 = HAL_GPIO_ReadPin(Sensor_J3_GPIO_Port, Sensor_J3_Pin);
	sensor.sensor4 = HAL_GPIO_ReadPin(Sensor_J4_GPIO_Port, Sensor_J4_Pin);
	if(FlagStart.startSetHome == 0){
		sethomeJ.sethomeJ1 = 0;
		sethomeJ.sethomeJ2 = 0;
		sethomeJ.sethomeJ3 = 0;
		sethomeJ.sethomeJ4 = 0;
		FlagStart.startProgram = 0;

		SpeedSetHomeJ.SpeedSetHomeJ1 = -400;
		SpeedSetHomeJ.SpeedSetHomeJ2 = 400;
		SpeedSetHomeJ.SpeedSetHomeJ3 = -300;
		SpeedSetHomeJ.SpeedSetHomeJ4 = 300;

		FlagStart.startSetHome = 1;
	}
	if(FlagStart.startProgram == 0){
		if(sethomeJ.sethomeJ1 == 0){
			if(HAL_GPIO_ReadPin(Sensor_J1_GPIO_Port, Sensor_J1_Pin) == 1){
				osDelay(1);
				if(HAL_GPIO_ReadPin(Sensor_J1_GPIO_Port, Sensor_J1_Pin) == 1){
					ResetCount(&ENC_LINK1, 1);
					SpeedSetHomeJ.SpeedSetHomeJ1 = 0;
					sethomeJ.sethomeJ1 = 1;
					Angle.AngleLink1 = 0;
					Setpoint.p0_1 = 0;
				}
			}
			else {
				if(CountRead(&ENC_LINK1, count_ModeDegree) > 90 && SpeedSetHomeJ.SpeedSetHomeJ1 > 0){
					SpeedSetHomeJ.SpeedSetHomeJ1 *= -1;
				}
				else if(CountRead(&ENC_LINK1, count_ModeDegree) < -90 && SpeedSetHomeJ.SpeedSetHomeJ1 < 0) {
					SpeedSetHomeJ.SpeedSetHomeJ1 *= -1;
				}
				Drive(&Motor_LINK1, &htim8, SpeedSetHomeJ.SpeedSetHomeJ1, TIM_CHANNEL_3, TIM_CHANNEL_4);
			}
		}
		if(sethomeJ.sethomeJ2 == 0){
			if(HAL_GPIO_ReadPin(Sensor_J2_GPIO_Port, Sensor_J2_Pin) == 1){
				osDelay(1);
				if(HAL_GPIO_ReadPin(Sensor_J2_GPIO_Port, Sensor_J2_Pin) == 1){
					ResetCount(&ENC_LINK2, 1);
					SpeedSetHomeJ.SpeedSetHomeJ2 = 0;
					sethomeJ.sethomeJ2 = 1;
					Angle.AngleLink2 = 187;
					Setpoint.p0_2 = 187;

				}
			}
			else {
				Drive(&Motor_LINK2, &htim4, SpeedSetHomeJ.SpeedSetHomeJ2, TIM_CHANNEL_3, TIM_CHANNEL_4);
			}
		}
		if(sethomeJ.sethomeJ3 == 0){
			if(HAL_GPIO_ReadPin(Sensor_J3_GPIO_Port, Sensor_J3_Pin) == 0){
				osDelay(1);
				if(HAL_GPIO_ReadPin(Sensor_J3_GPIO_Port, Sensor_J3_Pin) == 0){
					ResetCount(&ENC_LINK3, 1);
					sethomeJ.sethomeJ3 = 1;
					SpeedSetHomeJ.SpeedSetHomeJ3 = 0;
					Angle.AngleLink3 = -135;
					Setpoint.p0_3 = -135;
				}
			}
			else {
				Drive(&Motor_LINK3, &htim4, SpeedSetHomeJ.SpeedSetHomeJ3, TIM_CHANNEL_1, TIM_CHANNEL_2);
			}
		}
		if(sethomeJ.sethomeJ4 == 0){
			if(HAL_GPIO_ReadPin(Sensor_J4_GPIO_Port, Sensor_J4_Pin) == 0){
				osDelay(1);
				if(HAL_GPIO_ReadPin(Sensor_J4_GPIO_Port, Sensor_J4_Pin) == 0){
					ResetCount(&ENC_LINK4, 1);
					SpeedSetHomeJ.SpeedSetHomeJ4 = 0;
					sethomeJ.sethomeJ4 = 1;
					Angle.AngleLink4 = 90;
					Setpoint.p0_4 = 90;
				}
			}
			else {
				Drive(&Motor_LINK4, &htim9, SpeedSetHomeJ.SpeedSetHomeJ4, TIM_CHANNEL_1, TIM_CHANNEL_2);
			}
		}
//		if(sethomeJ.sethomeJ1 == 1 && sethomeJ.sethomeJ2 == 1 && sethomeJ.sethomeJ3 == 1 && sethomeJ.sethomeJ4 == 1){
//			FlagStart.startProgram = 1;
//		}
	}
    osDelay(10);
  }
  /* USER CODE END StartTaskSetHome */
}

void StartTaskPID(void const * argument)
{
  /* USER CODE BEGIN StartTaskPID */
  /* Infinite loop */
  for(;;)
  {
	  if(sethomeJ.sethomeJ1 == 1)	PID_LINK1_Pos();
	  if(sethomeJ.sethomeJ2 == 1)	PID_LINK2_Pos();
	  if(sethomeJ.sethomeJ3 == 1)	PID_LINK3_Pos();
	  if(sethomeJ.sethomeJ4 == 1)	PID_LINK4_Pos();

	  osDelay(10);
  }
  /* USER CODE END StartTaskPID */
}

void StartTaskTrajectory(void const * argument)
{
  /* USER CODE BEGIN StartTaskTrajectory */
  /* Infinite loop */
  static uint8_t mode = 0;
  for(;;)
  {
	if(FlagStart.startProgram == 1){
		switch(mode){
			case 0:
				if(T1 < Tf){
					T1 += 5;
					Angle.AngleLink1 = p(Setpoint.p0_1, Setpoint.setpoint1, Tf, 0, 0, T1);
				}
				mode = 1;
				break;
			case 1:
				if(T2 < Tf){
					T2 += 5;
					Angle.AngleLink2 = p(Setpoint.p0_2, Setpoint.setpoint2, Tf, 0, 0, T2);
				}
				mode = 2;
				break;

			case 2:
				if(T3 < Tf){
					T3 += 5;
					Angle.AngleLink3 = p(Setpoint.p0_3, Setpoint.setpoint3, Tf, 0, 0, T3);
				}
				mode = 3;
				break;
			case 3:
				if(T4 < Tf){
					T4 += 5;
					Angle.AngleLink4 = p(Setpoint.p0_4, Setpoint.setpoint4, Tf, 0, 0, T4);
				}
				mode = 4;
				break;
			case 4:

				  if (Setpoint.setpoint1 != Setpoint.preSetpoint1)
				  {
					T1 = 0;
					Setpoint.p0_1 = Angle.AngleLink1;
					Setpoint.preSetpoint1 = Setpoint.setpoint1;
				  }
				  if (Setpoint.setpoint2 != Setpoint.preSetpoint2)
				  {
					T2 = 0;
					Setpoint.p0_2 = Angle.AngleLink2;
					Setpoint.preSetpoint2 = Setpoint.setpoint2;
				  }
				  if (Setpoint.setpoint3 != Setpoint.preSetpoint3)
				  {
					T3 = 0;
					Setpoint.p0_3 = Angle.AngleLink3;
					Setpoint.preSetpoint3 = Setpoint.setpoint3;
				  }
				  if (Setpoint.setpoint4 != Setpoint.preSetpoint4)
				  {
					T4 = 0;
					Setpoint.p0_4 = Angle.AngleLink4;
					Setpoint.preSetpoint4 = Setpoint.setpoint4;
				  }
				  mode = 0;

				  break;
			default:
			  break;
		}

	}
    osDelay(1);
  }
  /* USER CODE END StartTaskTrajectory */
}

void HAL_TIM_PeriodElapsedCallback(TIM_HandleTypeDef *htim)
{
  if (htim->Instance == TIM14) {
    HAL_IncTick();
  }
  /* USER CODE BEGIN Callback 1 */
  if(htim->Instance == TIM12){
	if(FlagStart.startProgram == 1){
		count_timer++;
		if(count_timer >= 200){
		  sprintf(dataAngle, "t1:%.1f,t2:%.1f,t3:%.1f,t4:%.1f\n", (float)Angle.AngleLink1, (float)Angle.AngleLink2, (float)Angle.AngleLink3, (float)Angle.AngleLink4);
		  HAL_UART_Transmit_IT(&huart1, (uint8_t*)dataAngle, strlen(dataAngle));
		  count_timer = 0;
		}
	}
  }
  /* USER CODE END Callback 1 */
}

void Error_Handler(void)
{
  __disable_irq();
  while (1)
  {
  }
}
